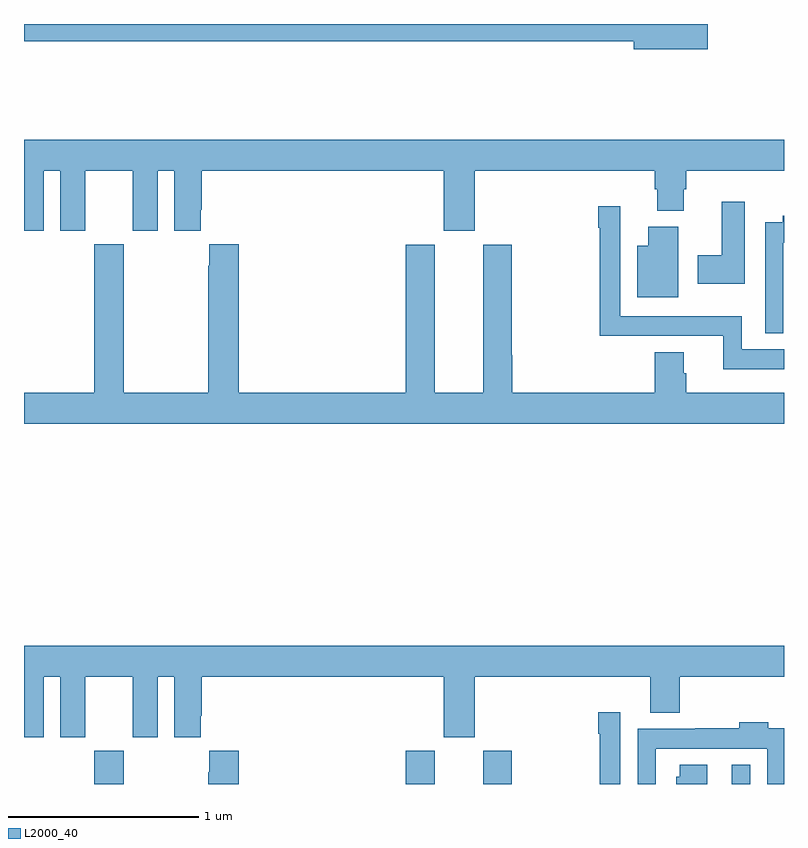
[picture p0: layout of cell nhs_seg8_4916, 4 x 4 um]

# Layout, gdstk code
import gdstk
lib = gdstk.Library(unit=1e-6, precision=1e-09)
def R(c, l, rs):  # rectangles x0, y0, x1, y1
    for r in rs: c.add(gdstk.rectangle(r[:2], r[2:], *l))
def P(c, l, *ps):  # polygons
    for p in ps: c.add(gdstk.Polygon(p, *l))
L2000_40 = (2000, 40)

nhs_seg8_4916 = lib.new_cell('nhs_seg8_4916')
R(nhs_seg8_4916, L2000_40, [(407.371,1151.9,407.526,1152.076), (409.01,1151.9,409.162,1152.075), (409.418,1151.9,409.566,1152.075), (410.726,1151.9,410.823,1152.001)])
P(nhs_seg8_4916, L2000_40, [(410.599,1155.9),(407,1155.9),(407,1155.808),(410.21,1155.808),(410.21,1155.766),(410.599,1155.766)],
  [(407.104,1155.128),(407.192,1155.128),(407.192,1154.811),(407.323,1154.811),(407.323,1155.128),(407.573,1155.128),(407.573,1154.811),(407.704,1154.811),(407.704,1155.128),(407.792,1155.128),(407.792,1154.811),(407.929,1154.811),(407.929,1154.923),(407.936,1154.923),(407.936,1155.128),(409.208,1155.128),(409.208,1154.811),(409.372,1154.811),(409.372,1155.128),(410.321,1155.128),(410.321,1155.03),(410.333,1155.03),(410.333,1154.918),(410.473,1154.918),(410.473,1155.03),(410.486,1155.03),(410.486,1155.128),(411,1155.128),(411,1155.292),(407,1155.292),(407,1154.811),(407.104,1154.811)],
  [(410.794,1154.965),(410.672,1154.965),(410.672,1154.682),(410.547,1154.682),(410.547,1154.534),(410.794,1154.534)],
  [(411,1154.188),(410.778,1154.188),(410.778,1154.362),(410.139,1154.362),(410.139,1154.941),(410.023,1154.941),(410.023,1154.828),(410.031,1154.828),(410.031,1154.258),(410.681,1154.258),(410.681,1154.084),(411,1154.084)],
  [(410.997,1154.75),(411,1154.75),(411,1154.89),(410.993,1154.89),(410.993,1154.857),(410.901,1154.857),(410.901,1154.273),(410.997,1154.273)],
  [(410.443,1154.833),(410.285,1154.833),(410.285,1154.734),(410.228,1154.734),(410.228,1154.462),(410.443,1154.462)],
  [(411,1153.96),(410.486,1153.96),(410.486,1154.061),(410.473,1154.061),(410.473,1154.173),(410.321,1154.173),(410.321,1153.96),(409.571,1153.96),(409.571,1154.156),(409.566,1154.156),(409.566,1154.739),(409.418,1154.739),(409.418,1153.96),(409.162,1153.96),(409.162,1154.739),(409.01,1154.739),(409.01,1153.96),(408.131,1153.96),(408.131,1154.74),(407.975,1154.74),(407.975,1154.627),(407.971,1154.627),(407.971,1153.96),(407.526,1153.96),(407.526,1154.74),(407.371,1154.74),(407.371,1153.96),(407,1153.96),(407,1153.796),(411,1153.796)],
  [(407.104,1152.464),(407.192,1152.464),(407.192,1152.147),(407.323,1152.147),(407.323,1152.464),(407.573,1152.464),(407.573,1152.147),(407.704,1152.147),(407.704,1152.464),(407.792,1152.464),(407.792,1152.147),(407.929,1152.147),(407.929,1152.259),(407.936,1152.259),(407.936,1152.464),(409.208,1152.464),(409.208,1152.147),(409.372,1152.147),(409.372,1152.464),(410.297,1152.464),(410.297,1152.275),(410.45,1152.275),(410.45,1152.464),(411,1152.464),(411,1152.628),(407,1152.628),(407,1152.147),(407.104,1152.147)],
  [(410.139,1152.277),(410.023,1152.277),(410.023,1152.164),(410.031,1152.164),(410.031,1151.9),(410.139,1151.9)],
  [(410.325,1152.086),(410.913,1152.086),(410.913,1151.9),(411,1151.9),(411,1152.193),(410.917,1152.193),(410.917,1152.226),(410.765,1152.226),(410.765,1152.193),(410.533,1152.193),(410.533,1152.19),(410.229,1152.19),(410.229,1151.9),(410.325,1151.9)],
  [(408.131,1152.076),(407.975,1152.076),(407.975,1151.963),(407.971,1151.963),(407.971,1151.9),(408.131,1151.9)],
  [(410.596,1152.001),(410.45,1152.001),(410.45,1151.937),(410.432,1151.937),(410.432,1151.9),(410.596,1151.9)])

lib.write_gds('nhs_seg8_4916.gds')
